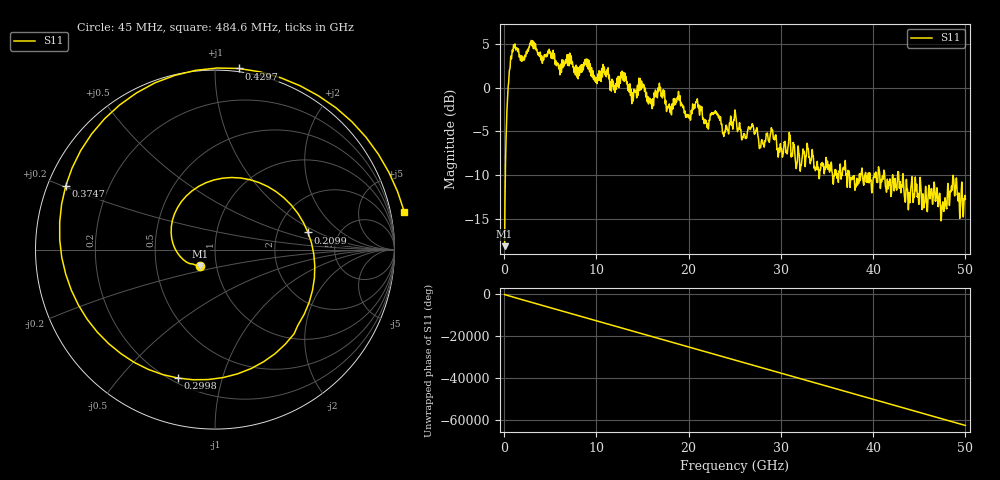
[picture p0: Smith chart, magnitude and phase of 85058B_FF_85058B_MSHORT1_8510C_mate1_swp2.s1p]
!Created with skrf (http://scikit-rf.org).
# Hz S RI R 50.0
!freq ReS11 ImS11
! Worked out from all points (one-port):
!   10001 points, 45 MHz to 50 GHz, reference 50 ohm
!   lowest |S11| = -18.2 dB at 45 MHz (marker M1), VSWR 1.28, Z = 41.8 - j7.88 ohm
!   |S11| at or under -10 dB: 37.43 GHz to 38.5 GHz (1.07 GHz wide, 2.82 % of centre); 41.25 GHz to 42.11 GHz (857.7 MHz wide, 2.06 % of centre); 43.25 GHz to end of sweep (the widest 3 of 23)
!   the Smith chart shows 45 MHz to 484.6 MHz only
!   S11 on the Smith chart (normalised r, x): 45 MHz: 0.84, -0.16; 209.9 MHz: 2.99, +0.79; 299.8 MHz: 0.23, -0.73; 374.7 MHz: 0.05, +0.20; 429.7 MHz: -0.02, +1.14; 484.6 MHz: -3.29, +8.88
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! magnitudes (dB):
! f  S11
! 45 MHz  -18.2
! 209.9 MHz  -5.6
! 299.8 MHz  -2.6
! 374.7 MHz  -0.9
! 429.7 MHz  0.2
! 484.6 MHz  0.6
! 1.174 GHz  5.0
! 6.289 GHz  3.2
! 12.53 GHz  1.2
! 15.85 GHz  -1.2
! 18.78 GHz  -1.1
! 19.99 GHz  -3.2
! 20.9 GHz  -1.4
! 21.93 GHz  -3.9
! 22.96 GHz  -2.9
! 23.78 GHz  -5.5
! 25.02 GHz  -2.5
! 25.95 GHz  -5.3
! 26.8 GHz  -4.4
! 27.85 GHz  -6.3
! 29.04 GHz  -5.0
! 31.27 GHz  -7.6
! 37.51 GHz  -11.2
! 43.76 GHz  -12.5
! 46.75 GHz  -13.0
! 47.52 GHz  -13.2
! 48.83 GHz  -12.4
! 50 GHz  -12.8
